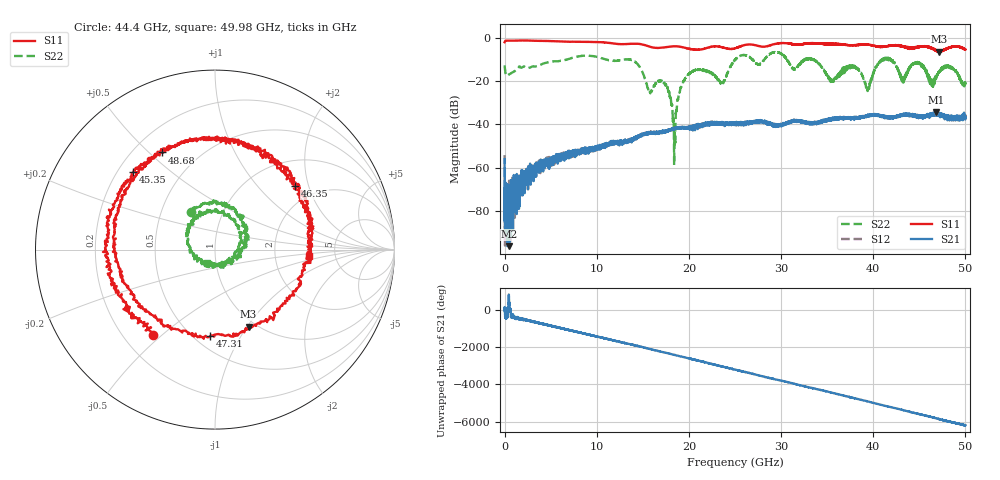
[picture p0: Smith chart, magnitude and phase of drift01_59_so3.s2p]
!Created with skrf (http://scikit-rf.org).
# Hz S RI R 50.0
!freq ReS11 ImS11 ReS21 ImS21 ReS12 ImS12 ReS22 ImS22
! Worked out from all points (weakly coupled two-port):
!   10001 points, 300 kHz to 50 GHz, reference 50 ohm
!   highest |S21| = -34.42 dB at 46.79 GHz (marker M1); lowest = -96.0 dB at 500.3 MHz (marker M2)
!   lowest |S11| = -6.6 dB at 47.14 GHz (marker M3), VSWR 2.76, Z = 46.2 - j50.8 ohm
!   |S11| at or under -10 dB: nowhere
!   |S22| runs from -58.6 to -6.7 dB; largest |S21 - S12| = 0.0047
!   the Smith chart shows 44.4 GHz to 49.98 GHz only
!   S11 on the Smith chart (normalised r, x): 44.4 GHz: 0.32, -0.47; 45.35 GHz: 0.26, +0.38; 46.35 GHz: 1.56, +1.64; 47.31 GHz: 0.60, -0.75; 48.68 GHz: 0.31, +0.55; 49.98 GHz: 3.17, -0.31
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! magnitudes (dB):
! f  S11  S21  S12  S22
! 300 kHz  -2.2  -56.0  -54.1  -12.8
! 500.3 MHz  -1.5  -96.0  -73.0  -16.9
! 8.335 GHz  -1.9  -52.0  -53.1  -8.5
! 16.67 GHz  -4.8  -43.8  -43.6  -19.9
! 17.74 GHz  -4.3  -42.7  -43.1  -24.3
! 18.45 GHz  -4.0  -41.8  -42.0  -45.4
! 19.95 GHz  -5.1  -41.9  -41.5  -17.0
! 23.63 GHz  -4.5  -39.5  -39.4  -20.8
! 25 GHz  -5.0  -39.7  -39.4  -10.2
! 33.34 GHz  -2.6  -39.1  -39.4  -9.9
! 39.43 GHz  -3.3  -35.8  -36.2  -23.9
! 41.67 GHz  -3.8  -36.8  -36.8  -10.5
! 43.19 GHz  -4.1  -35.7  -35.5  -19.1
! 44.4 GHz  -4.6  -35.5  -35.9  -12.1
! 45.35 GHz  -4.0  -36.3  -36.1  -13.1
! 46.35 GHz  -4.9  -35.6  -35.0  -22.1
! 46.79 GHz  -6.0  -34.4  -35.0  -18.1
! 47.14 GHz  -6.6  -35.4  -35.3  -16.0
! 47.31 GHz  -6.3  -36.4  -35.6  -14.6
! 48.68 GHz  -4.2  -36.8  -37.1  -14.4
! 49.98 GHz  -5.6  -36.4  -35.6  -21.1
! 50 GHz  -5.6  -36.9  -36.5  -21.6
